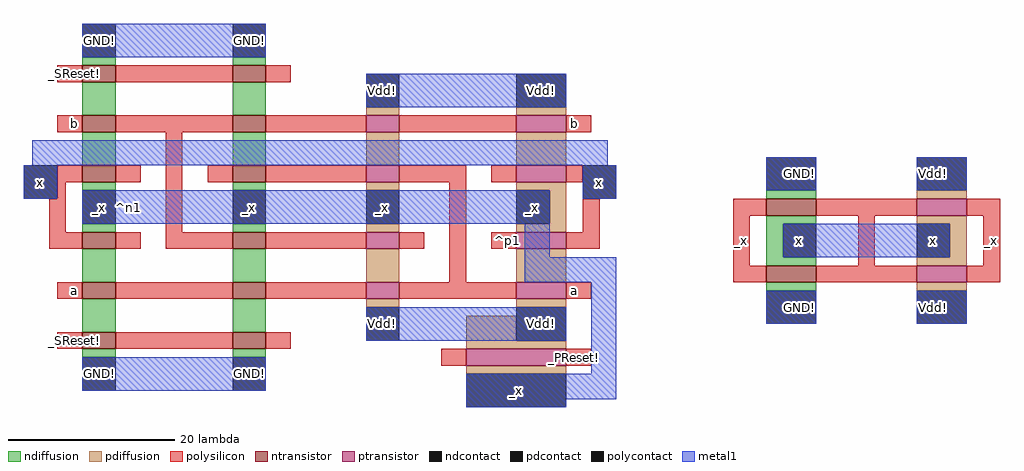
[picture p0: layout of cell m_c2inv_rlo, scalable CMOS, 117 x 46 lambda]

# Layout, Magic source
magic
tech scmos
<< ndiffusion >>
rect 8 20 12 21
rect 26 20 30 21
rect 8 14 12 18
rect 26 14 30 18
rect 8 8 12 12
rect 8 5 12 6
rect 8 0 12 1
rect 26 8 30 12
rect 26 5 30 6
rect 26 0 30 1
rect 8 -6 12 -2
rect 26 -6 30 -2
rect 90 4 96 5
rect 90 1 96 2
rect 90 -3 92 1
rect 90 -4 96 -3
rect 90 -7 96 -6
rect 8 -12 12 -8
rect 26 -12 30 -8
rect 8 -15 12 -14
rect 26 -15 30 -14
<< pdiffusion >>
rect 42 14 46 15
rect 60 14 66 15
rect 42 8 46 12
rect 60 8 66 12
rect 42 5 46 6
rect 42 0 46 1
rect 42 -6 46 -2
rect 60 5 66 6
rect 64 1 66 5
rect 60 0 66 1
rect 108 4 114 5
rect 60 -6 66 -2
rect 108 1 114 2
rect 112 -3 114 1
rect 108 -4 114 -3
rect 42 -9 46 -8
rect 60 -9 66 -8
rect 54 -13 60 -10
rect 108 -7 114 -6
rect 54 -14 66 -13
rect 54 -17 66 -16
<< ntransistor >>
rect 8 18 12 20
rect 26 18 30 20
rect 8 12 12 14
rect 26 12 30 14
rect 8 6 12 8
rect 26 6 30 8
rect 8 -2 12 0
rect 26 -2 30 0
rect 90 2 96 4
rect 90 -6 96 -4
rect 8 -8 12 -6
rect 26 -8 30 -6
rect 8 -14 12 -12
rect 26 -14 30 -12
<< ptransistor >>
rect 42 12 46 14
rect 60 12 66 14
rect 42 6 46 8
rect 60 6 66 8
rect 42 -2 46 0
rect 60 -2 66 0
rect 108 2 114 4
rect 108 -6 114 -4
rect 42 -8 46 -6
rect 60 -8 66 -6
rect 54 -16 66 -14
<< polysilicon >>
rect 5 18 8 20
rect 12 18 26 20
rect 30 18 33 20
rect 5 12 8 14
rect 12 12 26 14
rect 30 12 42 14
rect 46 12 60 14
rect 66 12 69 14
rect 5 6 8 8
rect 12 6 15 8
rect 5 4 6 6
rect 4 0 6 4
rect 18 0 20 12
rect 23 6 26 8
rect 30 6 42 8
rect 46 6 54 8
rect 57 6 60 8
rect 66 6 68 8
rect 4 -2 8 0
rect 12 -2 15 0
rect 18 -2 26 0
rect 30 -2 42 0
rect 46 -2 49 0
rect 52 -6 54 6
rect 68 0 70 4
rect 57 -2 60 0
rect 66 -2 70 0
rect 86 2 90 4
rect 96 2 108 4
rect 114 2 118 4
rect 86 -4 88 2
rect 101 -4 103 2
rect 116 -4 118 2
rect 86 -6 90 -4
rect 96 -6 108 -4
rect 114 -6 118 -4
rect 5 -8 8 -6
rect 12 -8 26 -6
rect 30 -8 42 -6
rect 46 -8 60 -6
rect 66 -8 69 -6
rect 5 -14 8 -12
rect 12 -14 26 -12
rect 30 -14 33 -12
rect 51 -16 54 -14
rect 66 -16 69 -14
<< ndcontact >>
rect 8 21 12 25
rect 26 21 30 25
rect 8 1 12 5
rect 26 1 30 5
rect 90 5 96 9
rect 92 -3 96 1
rect 90 -11 96 -7
rect 8 -19 12 -15
rect 26 -19 30 -15
<< pdcontact >>
rect 42 15 46 19
rect 60 15 66 19
rect 42 1 46 5
rect 60 1 64 5
rect 108 5 114 9
rect 108 -3 112 1
rect 42 -13 46 -9
rect 60 -13 66 -9
rect 108 -11 114 -7
rect 54 -21 66 -17
<< polycontact >>
rect 1 4 5 8
rect 68 4 72 8
<< metal1 >>
rect 8 21 30 25
rect 42 15 66 19
rect 2 8 71 11
rect 1 4 5 8
rect 8 1 64 5
rect 68 4 72 8
rect 90 5 96 9
rect 108 5 114 9
rect 61 -3 64 1
rect 92 -3 112 1
rect 61 -6 72 -3
rect 42 -13 66 -9
rect 8 -19 30 -15
rect 69 -17 72 -6
rect 90 -11 96 -7
rect 108 -11 114 -7
rect 54 -20 72 -17
rect 54 -21 66 -20
<< labels >>
rlabel polysilicon 7 13 7 13 3 b
rlabel polysilicon 7 -7 7 -7 1 a
rlabel polysilicon 7 19 7 19 1 _SReset!
rlabel polysilicon 7 -13 7 -13 1 _SReset!
rlabel space 0 -20 27 26 7 ^n1
rlabel polysilicon 87 -1 87 -1 1 _x
rlabel polysilicon 117 -1 117 -1 7 _x
rlabel space 85 -12 93 10 7 ^n2
rlabel space 111 -12 119 10 3 ^p2
rlabel space 45 -22 73 20 3 ^p1
rlabel polysilicon 67 13 67 13 1 b
rlabel polysilicon 67 -7 67 -7 1 a
rlabel polysilicon 67 -15 67 -15 5 _PReset!
rlabel ndcontact 28 -17 28 -17 1 GND!
rlabel ndcontact 28 23 28 23 5 GND!
rlabel ndcontact 10 23 10 23 5 GND!
rlabel ndcontact 10 -17 10 -17 1 GND!
rlabel polycontact 3 6 3 6 1 x
rlabel ndcontact 10 3 10 3 1 _x
rlabel ndcontact 94 -9 94 -9 1 GND!
rlabel ndcontact 94 7 94 7 5 GND!
rlabel pdcontact 110 7 110 7 5 Vdd!
rlabel pdcontact 110 -9 110 -9 1 Vdd!
rlabel ndcontact 94 -1 94 -1 1 x
rlabel pdcontact 110 -1 110 -1 1 x
rlabel polycontact 70 6 70 6 1 x
rlabel pdcontact 60 -19 60 -19 1 _x
rlabel pdcontact 63 -11 63 -11 1 Vdd!
rlabel pdcontact 63 17 63 17 1 Vdd!
rlabel pdcontact 44 17 44 17 1 Vdd!
rlabel pdcontact 62 3 62 3 1 _x
rlabel pdcontact 44 -11 44 -11 1 Vdd!
rlabel pdcontact 44 3 44 3 1 _x
rlabel ndcontact 28 3 28 3 1 _x
<< end >>
